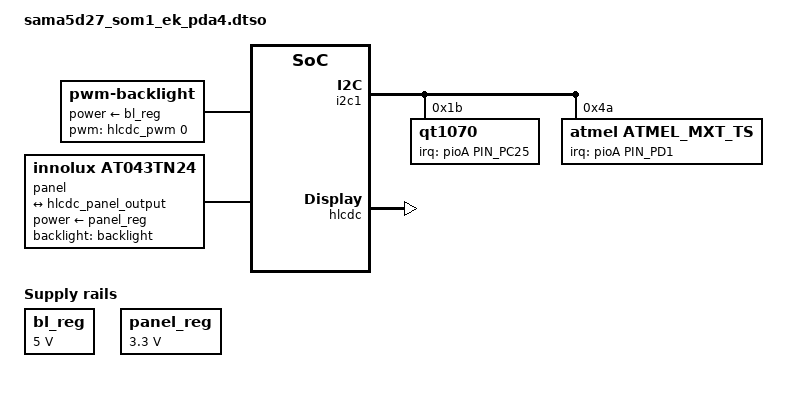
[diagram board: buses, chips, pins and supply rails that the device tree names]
// SPDX-License-Identifier: (GPL-2.0+ OR MIT)
/*
 * Device Tree file for SAMA5D27 SOM1 EK board
 * overlay blob for PDA4300 LCD.
 *
 * Copyright (C) 2018 Microchip Technology, Inc.
 * Author: Codrin Ciubotariu <codrin.ciubotariu@microchip.com>
 *
 */
/dts-v1/;
/plugin/;

#include "sama5d2-pinfunc.h"
#include "dt-bindings/pinctrl/at91.h"

&i2c1 {
	#address-cells = <1>;
	#size-cells = <0>;

	qt1070: keyboard@1b {
		compatible = "qt1070";
		reg = <0x1b>;
		interrupt-parent = <&pioA>;
		interrupts = <PIN_PC25 0>;
		pinctrl-names = "default";
		pinctrl-0 = <&pinctrl_qt1070_irq>;
		wakeup-source;
	};

	atmel_mxt_ts@4a {
		compatible = "atmel,atmel_mxt_ts";
		reg = <0x4a>;
		interrupt-parent = <&pioA>;
		interrupts = <PIN_PD1 0x0>;
		pinctrl-names = "default";
		pinctrl-0 = <&pinctrl_mxt_irq>;
	};
};

&hlcdc {
	status = "okay";

	hlcdc-display-controller {
		pinctrl-names = "default";
		pinctrl-0 = <&pinctrl_lcd_base &pinctrl_lcd_rgb>;
		port@0 {
			#address-cells = <1>;
			#size-cells = <0>;

			hlcdc_panel_output: endpoint@0 {
				reg = <0>;
				remote-endpoint = <&panel_input>;
			};
		};
	};

	hlcdc_pwm: hlcdc-pwm {
		pinctrl-names = "default";
		pinctrl-0 = <&pinctrl_lcd_pwm>;
	};
};


&pioA {
	pinctrl_qt1070_irq: pinctrl_qt1070_irq {
		pinmux = <PIN_PC25__GPIO>;
		bias-pull-up;
		input-debounce = <1>;
	};

	pinctrl_mxt_irq: pinctrl_mxt_irq {
		pinmux = <PIN_PD1__GPIO>;
		bias-pull-up;
		input-debounce = <1>;
	};

	pinctrl_lcd_base: pinctrl_lcd_base {
		pinmux = <PIN_PC5__LCDVSYNC>,
			 <PIN_PC6__LCDHSYNC>,
			 <PIN_PC8__LCDDEN>,
			 <PIN_PC7__LCDPCK>;
		bias-disable;
		atmel,drive-strength = <ATMEL_PIO_DRVSTR_ME>;
	};

	pinctrl_lcd_rgb: pinctrl_lcd_rgb {
		pinmux = <PIN_PB11__LCDDAT0>,
			 <PIN_PB12__LCDDAT1>,
			 <PIN_PB13__LCDDAT2>,
			 <PIN_PB14__LCDDAT3>,
			 <PIN_PB15__LCDDAT4>,
			 <PIN_PB16__LCDDAT5>,
			 <PIN_PB17__LCDDAT6>,
			 <PIN_PB18__LCDDAT7>,
			 <PIN_PB19__LCDDAT8>,
			 <PIN_PB20__LCDDAT9>,
			 <PIN_PB21__LCDDAT10>,
			 <PIN_PB22__LCDDAT11>,
			 <PIN_PB23__LCDDAT12>,
			 <PIN_PB24__LCDDAT13>,
			 <PIN_PB25__LCDDAT14>,
			 <PIN_PB26__LCDDAT15>,
			 <PIN_PB27__LCDDAT16>,
			 <PIN_PB28__LCDDAT17>,
			 <PIN_PB29__LCDDAT18>,
			 <PIN_PB30__LCDDAT19>,
			 <PIN_PB31__LCDDAT20>,
			 <PIN_PC0__LCDDAT21>,
			 <PIN_PC1__LCDDAT22>,
			 <PIN_PC2__LCDDAT23>;
		bias-disable;
	};

	pinctrl_lcd_pwm: pinctrl_lcd_pwm {
		pinmux = <PIN_PC3__LCDPWM>;
		bias-disable;
	};
};

&{/} {
	model = "Atmel SAMA5D27 SOM1 EK TM43xx";
	backlight: backlight {
		compatible = "pwm-backlight";
		pwms = <&hlcdc_pwm 0 50000 0>;
		brightness-levels = <0 4 8 16 32 64 128 255>;
		default-brightness-level = <7>;
		power-supply = <&bl_reg>;
		status = "okay";
	};

	bl_reg: backlight_regulator {
		compatible = "regulator-fixed";
		regulator-name = "backlight-power-supply";
		regulator-min-microvolt = <5000000>;
		regulator-max-microvolt = <5000000>;
		status = "okay";
	};

	panel: panel {
		compatible = "innolux,at043tn24", "simple-panel";
		backlight = <&backlight>;
		power-supply = <&panel_reg>;
		#address-cells = <1>;
		#size-cells = <0>;
		status = "okay";

		port@0 {
			reg = <0>;
			#address-cells = <1>;
			#size-cells = <0>;

			panel_input: endpoint@0 {
				reg = <0>;
				remote-endpoint = <&hlcdc_panel_output>;
			};
		};
	};

	panel_reg: panel_regulator {
		compatible = "regulator-fixed";
		regulator-name = "panel-power-supply";
		regulator-min-microvolt = <3300000>;
		regulator-max-microvolt = <3300000>;
		status = "okay";
	};
};
